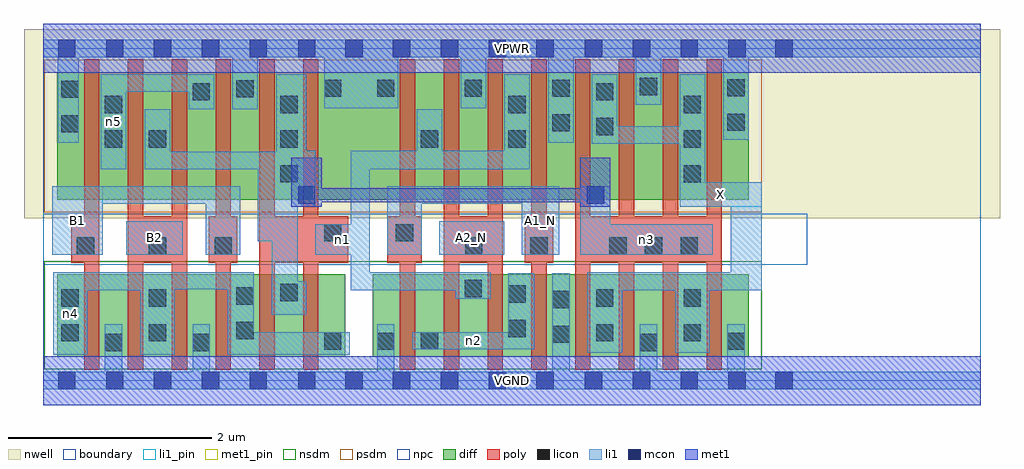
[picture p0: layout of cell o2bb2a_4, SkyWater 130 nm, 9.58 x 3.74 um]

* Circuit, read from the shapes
.subckt o2bb2a_4 A1_N A2_N B1 B2 VGND VPWR X n1 n2 n3 n4 n5
XM1 VGND B1 n4 VSUBS sky130_fd_pr__nfet_01v8 w=0.81 l=0.15 m=2
XM2 n4 B2 VGND VSUBS sky130_fd_pr__nfet_01v8 w=0.81 l=0.15 m=2
XM3 n3 n1 n4 VSUBS sky130_fd_pr__nfet_01v8 w=0.81 l=0.15 m=2
XM4 n2 A1_N VGND VSUBS sky130_fd_pr__nfet_01v8 w=0.81 l=0.15 m=2
XM5 n1 A2_N n2 VSUBS sky130_fd_pr__nfet_01v8 w=0.81 l=0.15 m=2
XM6 X n3 VGND VSUBS sky130_fd_pr__nfet_01v8 w=0.81 l=0.15 m=4
XM7 n5 B1 VPWR n6 sky130_fd_pr__pfet_01v8 w=1.25 l=0.15 m=2
XM8 n3 B2 n5 n6 sky130_fd_pr__pfet_01v8 w=1.25 l=0.15 m=2
XM9 n3 n1 VPWR n6 sky130_fd_pr__pfet_01v8 w=1.25 l=0.15 m=2
XM10 n1 A1_N VPWR n6 sky130_fd_pr__pfet_01v8 w=1.25 l=0.15 m=2
XM11 VPWR A2_N n1 n6 sky130_fd_pr__pfet_01v8 w=1.25 l=0.15 m=2
XM12 X n3 VPWR n6 sky130_fd_pr__pfet_01v8 w=1.25 l=0.15 m=4
.ends

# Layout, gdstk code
import gdstk
lib = gdstk.Library(unit=1e-6, precision=1e-09)
def R(c, l, rs):  # rectangles x0, y0, x1, y1
    for r in rs: c.add(gdstk.rectangle(r[:2], r[2:], *l))
def A(c, l, x, y, w, h, nx, ny, dx, dy):  # array of equal rectangles
    R(c, l, [(x+i*dx, y+j*dy, x+i*dx+w, y+j*dy+h) for i in range(nx) for j in range(ny)])
nwell = (64, 20)
diff = (65, 20)
poly = (66, 20)
licon = (66, 44)
li1_pin = (67, 16)
li1 = (67, 20)
mcon = (67, 44)
met1_pin = (68, 16)
met1 = (68, 20)
nsdm = (93, 44)
psdm = (94, 20)
npc = (95, 20)
boundary = (235, 4)

o2bb2a_4 = lib.new_cell('o2bb2a_4')
R(o2bb2a_4, nwell, [(-0.19,1.595,9.39,3.45), (0,1.595,9.2,3.45)])
R(o2bb2a_4, diff, [(0.135,0.235,2.965,1.045), (3.235,0.235,6.925,1.045), (0.135,1.775,6.925,3.025)])
A(o2bb2a_4, poly, 0.4, 0.105, 0.15, 3.05, 6, 1, 0.43, 0)
A(o2bb2a_4, poly, 3.5, 0.105, 0.15, 3.05, 8, 1, 0.43, 0)
R(o2bb2a_4, poly, [(0.275,1.155,0.55,1.615), (0.83,1.155,1.41,1.615), (1.625,1.155,1.905,1.615), (2.12,1.155,2.995,1.615), (3.375,1.155,3.715,1.615), (3.93,1.155,4.51,1.615), (4.725,1.155,5.005,1.615), (5.22,1.155,6.66,1.615)])
A(o2bb2a_4, licon, 5.555, 1.235, 0.17, 0.17, 3, 1, 0.35, 0)
A(o2bb2a_4, licon, 2.325, 1.945, 0.17, 0.17, 1, 3, 0, 0.34)
A(o2bb2a_4, licon, 6.285, 1.945, 0.17, 0.17, 1, 3, 0, 0.34)
A(o2bb2a_4, licon, 3.275, 2.785, 0.17, 0.17, 3, 1, 0.86, 0)
R(o2bb2a_4, licon, [(0.605,0.29,0.775,0.46), (1.465,0.29,1.635,0.46), (5.855,0.29,6.025,0.46), (2.755,0.3,2.925,0.47), (3.275,0.3,3.445,0.47), (6.715,0.3,6.885,0.47), (3.705,0.305,3.875,0.475), (4.995,0.37,5.165,0.54), (0.175,0.385,0.345,0.555), (1.035,0.385,1.205,0.555), (5.425,0.385,5.595,0.555), (6.285,0.385,6.455,0.555), (1.895,0.405,2.065,0.575), (4.565,0.425,4.735,0.595), (4.995,0.71,5.165,0.88), (0.175,0.725,0.345,0.895), (1.035,0.725,1.205,0.895), (5.425,0.725,5.595,0.895), (6.285,0.725,6.455,0.895), (1.895,0.745,2.065,0.915), (4.565,0.765,4.735,0.935), (2.325,0.78,2.495,0.95), (4.135,0.82,4.305,0.99), (0.33,1.235,0.5,1.405), (1.035,1.235,1.205,1.405), (1.68,1.235,1.85,1.405), (4.14,1.235,4.31,1.405), (4.78,1.235,4.95,1.405), (2.755,1.365,2.925,1.535), (3.46,1.365,3.63,1.535), (0.605,2.285,0.775,2.455), (1.035,2.285,1.205,2.455), (3.705,2.285,3.875,2.455), (4.565,2.285,4.735,2.455), (5.425,2.41,5.595,2.58), (0.175,2.435,0.345,2.605), (4.995,2.445,5.165,2.615), (6.715,2.45,6.885,2.62), (0.605,2.625,0.775,2.795), (4.565,2.625,4.735,2.795), (1.465,2.75,1.635,2.92), (5.425,2.75,5.595,2.92), (0.175,2.775,0.345,2.945), (1.895,2.78,2.065,2.95), (2.755,2.785,2.925,2.955), (6.715,2.79,6.885,2.96), (5.855,2.8,6.025,2.97)])
R(o2bb2a_4, li1_pin, [(0.085,1.235,0.585,1.905), (0.815,1.235,1.37,1.565), (3.885,1.235,4.525,1.565), (4.695,1.235,5.065,1.905), (6.245,1.705,7.05,1.945)])
R(o2bb2a_4, li1, [(0,-0.085,9.2,0.085), (0.605,-0.085,0.775,0.555), (1.465,-0.085,1.635,0.555), (3.275,-0.085,3.445,0.555), (4.995,-0.085,5.165,1.055), (5.855,-0.085,6.025,0.555), (6.715,-0.085,6.885,0.555), (0.095,0.255,0.43,1.065), (0.95,0.255,1.29,1.065), (1.81,0.255,3.005,0.475), (1.81,0.255,2.065,1.065), (5.34,0.275,5.68,1.065), (6.2,0.275,6.54,1.065), (3.62,0.305,4.82,0.475), (4.565,0.305,4.82,1.055), (2.24,0.645,2.495,2.245), (2.24,0.645,2.58,0.975), (4.05,0.805,4.39,1.065), (0.095,0.885,1.29,1.065), (3.015,0.885,4.39,1.065), (3.015,0.885,3.205,2.255), (5.34,0.885,7.05,1.065), (6.745,0.885,7.05,1.945), (0.095,0.895,2.065,1.065), (0.085,1.235,0.585,1.905), (0.815,1.235,1.37,1.565), (1.595,1.235,1.935,1.905), (2.67,1.235,3.205,1.535), (3.375,1.235,3.715,1.905), (3.885,1.235,4.525,1.565), (4.695,1.235,5.065,1.905), (5.27,1.235,6.57,1.535), (5.27,1.235,5.565,1.905), (2.105,1.365,2.495,2.245), (2.285,1.705,2.58,3.005), (2.285,1.705,2.67,2.255), (6.245,1.705,6.495,3.005), (6.245,1.705,7.05,1.945), (0.085,1.735,1.935,1.905), (3.375,1.735,5.065,1.905), (0.565,2.075,0.815,3.005), (0.995,2.075,2.67,2.245), (0.995,2.075,1.245,2.665), (3.015,2.075,4.775,2.255), (3.665,2.075,3.915,2.665), (4.525,2.075,4.775,3.005), (5.385,2.325,6.495,2.495), (5.385,2.325,5.635,3.005), (0.14,2.335,0.345,3.345), (4.955,2.335,5.205,3.345), (6.675,2.365,6.925,3.345), (1.425,2.665,1.675,3.005), (1.855,2.665,2.105,3.345), (2.755,2.675,3.485,3.345), (4.095,2.675,4.345,3.345), (5.815,2.705,6.065,3.345), (0.565,2.835,1.675,3.005), (0,3.175,9.2,3.345)])
A(o2bb2a_4, mcon, 0.145, -0.085, 0.17, 0.17, 5, 2, 0.47, 3.26)
A(o2bb2a_4, mcon, 2.5, -0.085, 0.17, 0.17, 3, 2, 0.465, 3.26)
A(o2bb2a_4, mcon, 3.9, -0.085, 0.17, 0.17, 3, 2, 0.47, 3.26)
A(o2bb2a_4, mcon, 5.315, -0.085, 0.17, 0.17, 4, 2, 0.47, 3.26)
R(o2bb2a_4, mcon, [(7.185,-0.085,7.355,0.085), (2.5,1.735,2.67,1.905), (5.335,1.735,5.505,1.905), (7.185,3.175,7.355,3.345)])
R(o2bb2a_4, met1_pin, [(0,-0.24,9.2,0.24), (0,3.02,9.2,3.5)])
R(o2bb2a_4, met1, [(0,-0.24,9.2,0.24), (2.435,1.705,2.735,2.185), (5.27,1.705,5.565,2.185), (2.435,1.75,5.565,1.89), (0,3.02,9.2,3.5)])
R(o2bb2a_4, nsdm, [(0.01,0.11,7.05,1.17)])
R(o2bb2a_4, psdm, [(0.01,1.65,7.05,3.15)])
R(o2bb2a_4, npc, [(0,1.135,7.5,1.635)])
R(o2bb2a_4, boundary, [(0,0,9.2,3.26)])
o2bb2a_4.add(gdstk.Label('A1_N', (4.88,1.57), layer=67, texttype=5))
o2bb2a_4.add(gdstk.Label('A2_N', (4.205,1.4), layer=67, texttype=5))
o2bb2a_4.add(gdstk.Label('B1', (0.335,1.57), layer=67, texttype=5))
o2bb2a_4.add(gdstk.Label('B2', (1.092,1.4), layer=67, texttype=5))
o2bb2a_4.add(gdstk.Label('X', (6.647,1.825), layer=67, texttype=5))
o2bb2a_4.add(gdstk.Label('n2', (4.22,0.39), layer=67, texttype=5))
o2bb2a_4.add(gdstk.Label('n4', (0.262,0.66), layer=67, texttype=5))
o2bb2a_4.add(gdstk.Label('n3', (5.92,1.385), layer=67, texttype=5))
o2bb2a_4.add(gdstk.Label('n5', (0.69,2.54), layer=67, texttype=5))
o2bb2a_4.add(gdstk.Label('n1', (2.937,1.385), layer=67, texttype=5))
o2bb2a_4.add(gdstk.Label('VPWR', (4.6,3.26), layer=68, texttype=5))
o2bb2a_4.add(gdstk.Label('VGND', (4.6,0), layer=68, texttype=5))
o2bb2a_4.add(gdstk.Label('A1_N', (4.88,1.57), layer=67, texttype=16))
o2bb2a_4.add(gdstk.Label('A2_N', (4.205,1.4), layer=67, texttype=16))
o2bb2a_4.add(gdstk.Label('B1', (0.335,1.57), layer=67, texttype=16))
o2bb2a_4.add(gdstk.Label('B2', (1.092,1.4), layer=67, texttype=16))
o2bb2a_4.add(gdstk.Label('X', (6.647,1.825), layer=67, texttype=16))
o2bb2a_4.add(gdstk.Label('VPWR', (4.6,3.26), layer=68, texttype=16))
o2bb2a_4.add(gdstk.Label('VGND', (4.6,0), layer=68, texttype=16))

lib.write_gds('o2bb2a_4.gds')
